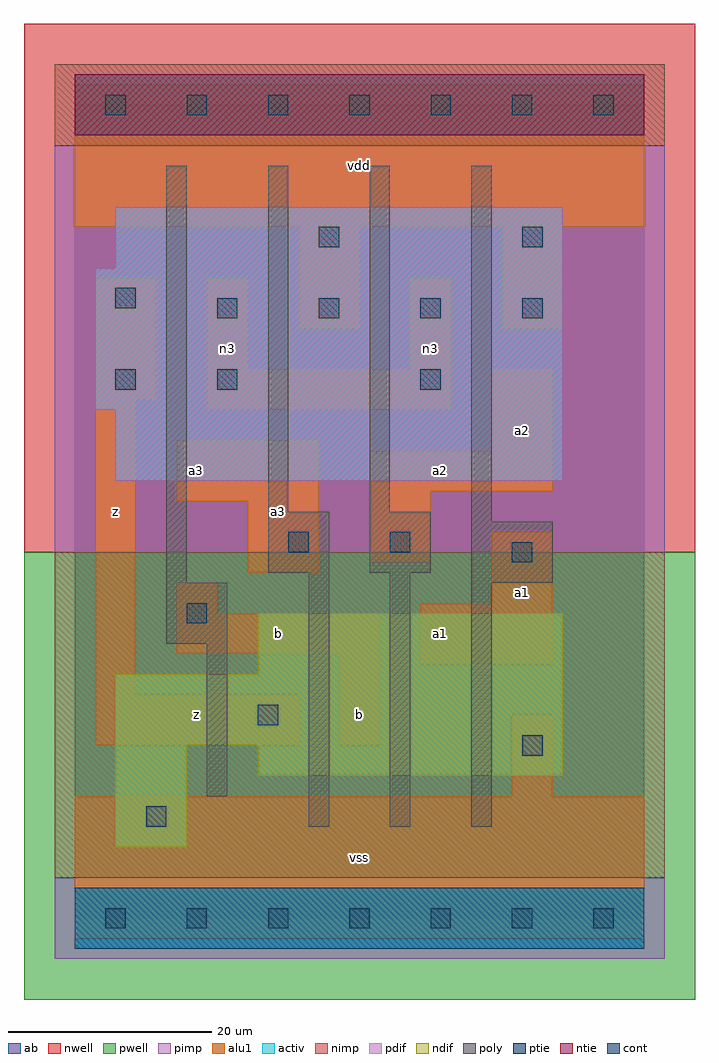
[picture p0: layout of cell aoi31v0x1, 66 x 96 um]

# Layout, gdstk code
import gdstk
lib = gdstk.Library(unit=1e-6, precision=1e-09)
def R(c, l, rs):  # rectangles x0, y0, x1, y1
    for r in rs: c.add(gdstk.rectangle(r[:2], r[2:], *l))
def A(c, l, x, y, w, h, nx, ny, dx, dy):  # array of equal rectangles
    R(c, l, [(x+i*dx, y+j*dy, x+i*dx+w, y+j*dy+h) for i in range(nx) for j in range(ny)])
ndif = (3, 0)
pdif = (4, 0)
ntie = (5, 0)
ptie = (6, 0)
cont = (25, 0)
pwell = (41, 0)
nwell = (42, 0)
activ = (43, 0)
pimp = (44, 0)
nimp = (45, 0)
poly = (46, 0)
alu1 = (49, 0)
ab = (63, 0)

aoi31v0x1 = lib.new_cell('aoi31v0x1')
R(aoi31v0x1, ndif, [(4,7,11,17), (18,14,48,17), (4,17,48,24), (18,24,48,30)])
R(aoi31v0x1, pdif, [(4,43,48,50), (2,50,48,64), (4,64,48,70)])
R(aoi31v0x1, ntie, [(0,77,56,83)])
R(aoi31v0x1, ptie, [(0,-3,56,3)])
A(aoi31v0x1, cont, 3, -1, 2, 2, 7, 2, 8, 80)
A(aoi31v0x1, cont, 14, 59, 2, 2, 4, 1, 10, 0)
R(aoi31v0x1, cont, [(7,9,9,11), (44,16,46,18), (18,19,20,21), (11,29,13,31), (43,35,45,37), (21,36,23,38), (31,36,33,38), (4,52,6,54), (14,52,16,54), (34,52,36,54), (4,60,6,62), (24,66,26,68), (44,66,46,68)])
R(aoi31v0x1, pwell, [(-5,-8,61,36)])
R(aoi31v0x1, nwell, [(-5,36,61,88)])
R(aoi31v0x1, activ, [(0,-3,56,3), (4,7,11,17), (18,14,48,17), (4,17,48,24), (18,24,48,30), (4,43,48,50), (2,50,48,64), (4,64,48,70), (0,77,56,83)])
R(aoi31v0x1, pimp, [(-2,-4,58,4), (-2,36,58,76)])
R(aoi31v0x1, nimp, [(-2,4,58,36), (-2,76,58,84)])
R(aoi31v0x1, poly, [(23,9,25,34), (31,9,33,34), (39,9,41,33), (13,12,15,27), (9,27,15,33), (9,33,11,74), (39,33,47,39), (19,34,25,40), (29,34,35,40), (39,39,41,74), (19,40,21,74), (29,40,31,74)])
R(aoi31v0x1, alu1, [(0,-2,56,12), (43,12,47,20), (2,17,22,22), (26,17,30,26), (2,22,6,51), (34,25,47,31), (10,26,30,30), (10,30,14,33), (41,31,47,38), (17,34,24,41), (29,35,35,42), (10,41,24,47), (29,42,47,46), (41,46,47,54), (13,50,37,54), (2,51,8,63), (13,54,17,63), (33,54,37,63), (22,58,28,68), (42,58,48,68), (0,68,56,82)])
R(aoi31v0x1, ab, [(0,0,56,80)])
aoi31v0x1.add(gdstk.Label('n3', (15,56), layer=49, texttype=0))
aoi31v0x1.add(gdstk.Label('n3', (35,56), layer=49, texttype=0))
aoi31v0x1.add(gdstk.Label('z', (4,40), layer=49, texttype=0))
aoi31v0x1.add(gdstk.Label('z', (12,20), layer=49, texttype=0))
aoi31v0x1.add(gdstk.Label('b', (20,28), layer=49, texttype=0))
aoi31v0x1.add(gdstk.Label('a3', (20,40), layer=49, texttype=0))
aoi31v0x1.add(gdstk.Label('a3', (12,44), layer=49, texttype=0))
aoi31v0x1.add(gdstk.Label('vss', (28,6), layer=49, texttype=0))
aoi31v0x1.add(gdstk.Label('b', (28,20), layer=49, texttype=0))
aoi31v0x1.add(gdstk.Label('a1', (36,28), layer=49, texttype=0))
aoi31v0x1.add(gdstk.Label('a2', (36,44), layer=49, texttype=0))
aoi31v0x1.add(gdstk.Label('vdd', (28,74), layer=49, texttype=0))
aoi31v0x1.add(gdstk.Label('a1', (44,32), layer=49, texttype=0))
aoi31v0x1.add(gdstk.Label('a2', (44,48), layer=49, texttype=0))

lib.write_gds('aoi31v0x1.gds')
